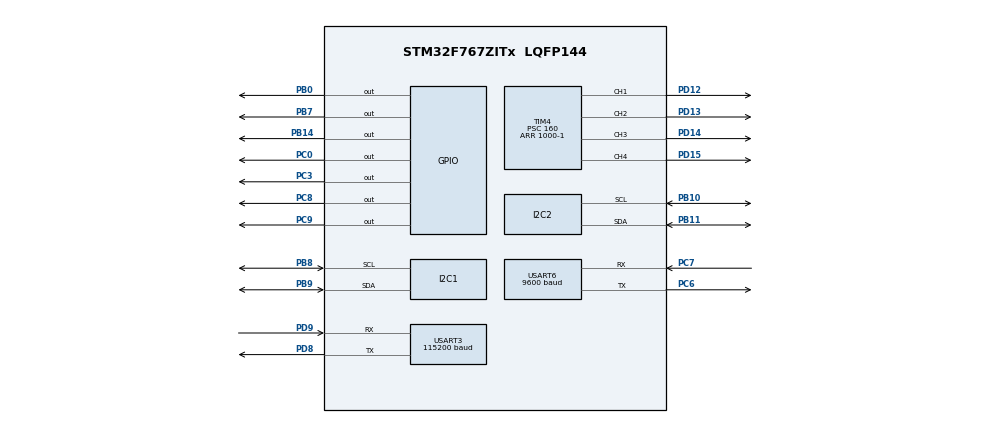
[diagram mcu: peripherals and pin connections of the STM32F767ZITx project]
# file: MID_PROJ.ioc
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FREERTOS.Tasks01=defaultTask,0,128,StartDefaultTask,Default,NULL,Dynamic,NULL,NULL
Mcu.Family=STM32F7
Mcu.Name=STM32F767ZITx
Mcu.Package=LQFP144
NVIC.PriorityGroup=NVIC_PRIORITYGROUP_4
PB0.Signal=GPIO_Output
PB10.GPIO_Pu=GPIO_PULLUP
PB10.Mode=I2C
PB10.Signal=I2C2_SCL
PB11.GPIO_Pu=GPIO_PULLUP
PB11.Mode=I2C
PB11.Signal=I2C2_SDA
PB14.Signal=GPIO_Output
PB7.Signal=GPIO_Output
PB8.GPIO_Pu=GPIO_PULLUP
PB8.Mode=I2C
PB8.Signal=I2C1_SCL
PB9.GPIO_Pu=GPIO_PULLUP
PB9.Mode=I2C
PB9.Signal=I2C1_SDA
PC0.Signal=GPIO_Output
PC3.Signal=GPIO_Output
PC6.Mode=Asynchronous
PC6.Signal=USART6_TX
PC7.Mode=Asynchronous
PC7.Signal=USART6_RX
PC8.Signal=GPIO_Output
PC9.Signal=GPIO_Output
PD12.Signal=S_TIM4_CH1
PD13.Signal=S_TIM4_CH2
PD14.Signal=S_TIM4_CH3
PD15.Signal=S_TIM4_CH4
PD8.Mode=Asynchronous
PD8.Signal=USART3_TX
PD9.Mode=Asynchronous
PD9.Signal=USART3_RX
ProjectManager.HeapSize=0x200
ProjectManager.StackSize=0x400
ProjectManager.TargetToolchain=STM32CubeIDE
RCC.HSE_VALUE=25000000
RCC.HSI_VALUE=16000000
RCC.LSE_VALUE=32768
RCC.USBFreq_Value=96000000
RCC.VCOOutputFreq_Value=192000000
SH.S_TIM4_CH1.0=TIM4_CH1,PWM Generation1 CH1
SH.S_TIM4_CH2.0=TIM4_CH2,PWM Generation2 CH2
SH.S_TIM4_CH3.0=TIM4_CH3,PWM Generation3 CH3
SH.S_TIM4_CH4.0=TIM4_CH4,PWM Generation4 CH4
TIM4.Channel-PWM\ Generation1\ CH1=TIM_CHANNEL_1
TIM4.Channel-PWM\ Generation2\ CH2=TIM_CHANNEL_2
TIM4.Channel-PWM\ Generation3\ CH3=TIM_CHANNEL_3
TIM4.Channel-PWM\ Generation4\ CH4=TIM_CHANNEL_4
TIM4.Period=1000-1
TIM4.Prescaler=160
USART3.BaudRate=115200
USART3.VirtualMode-Asynchronous=VM_ASYNC
USART6.BaudRate=9600
USART6.VirtualMode-Asynchronous=VM_ASYNC
VP_FREERTOS_VS_CMSIS_V1.Mode=CMSIS_V1
board=custom

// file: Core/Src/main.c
/* USER CODE BEGIN Header */
/**
  ******************************************************************************
  * @file           : main.c
  * @brief          : Main program body
  ******************************************************************************
  * @attention
  *
  * <h2><center>&copy; Copyright (c) 2021 STMicroelectronics.
  * All rights reserved.</center></h2>
  *
  * This software component is licensed by ST under BSD 3-Clause license,
  * the "License"; You may not use this file except in compliance with the
  * License. You may obtain a copy of the License at:
  *                        opensource.org/licenses/BSD-3-Clause
  *
  ******************************************************************************
  */
/* USER CODE END Header */
#include "main.h"
#include "cmsis_os.h"
#include "i2c.h"
#include "tim.h"
#include "usart.h"
#include "gpio.h"

/* USER CODE BEGIN Includes */
#include "math.h"
#include "queue.h"
#include "task.h"
static QueueHandle_t RollCmdQueue = NULL ;
#include "i2c-lcd.h"

/* USER CODE END Includes */

/* USER CODE BEGIN PV */
__STATIC_INLINE void  Configure_TIMPWMOutput(void);
void Roll_Task (void);
void Uart_Rx_Task(void);
void lcd_init (void);
void lcd_send_cmd (char cmd);
void lcd_send_data (char data);
void lcd_send_string (char *str);
void lcd_put_cur (int row, int col);
void lcd_clear (void);

uint8_t readReg(uint8_t addr);
uint8_t rec_BLE;
void writeReg(uint8_t addr, uint8_t val);
void Usart3_Send(char *string);

void ADXL_Task(void);

//void MX_FREERTOS_Init(void);
/* USER CODE END PV */

void SystemClock_Config(void);
void MX_FREERTOS_Init(void);
/* USER CODE BEGIN PFP */
#define SLAVE_ADDRESS_LCD 0x4E
#define SLAVE_ADDRESS_ADXL 0xA7
/* USER CODE END PFP */

int main(void)
{

  /* MCU Configuration--------------------------------------------------------*/

  /* Reset of all peripherals, Initializes the Flash interface and the Systick. */
  HAL_Init();

  /* Configure the system clock */
  SystemClock_Config();

  /* Initialize all configured peripherals */
  MX_GPIO_Init();
  MX_TIM4_Init();
  MX_USART3_UART_Init();
  MX_I2C1_Init();
  MX_I2C2_Init();
  MX_USART6_UART_Init();
  /* USER CODE BEGIN 2 */
  Configure_TIMPWMOutput();

  RollCmdQueue = xQueueCreate(2,sizeof(uint8_t));
  lcd_init();
  lcd_send_string ("HELLO WORLD");

  while(RollCmdQueue==NULL);
  if(xTaskCreate(Roll_Task,"rolltask",128,NULL,tskIDLE_PRIORITY+2, NULL)!= pdPASS){while(1);}
  if(xTaskCreate(Uart_Rx_Task,"uarttask",128,NULL,tskIDLE_PRIORITY+1, NULL)!= pdPASS){while(1);}
  if(xTaskCreate(ADXL_Task,"adxltask",128,NULL,tskIDLE_PRIORITY+1, NULL)!= pdPASS){while(1);}
  //vTaskStartScheduler();

  /* USER CODE END 2 */

  /* Call init function for freertos objects (in freertos.c) */
  MX_FREERTOS_Init();
  /* Start scheduler */
  //osKernelStart();

  /* We should never get here as control is now taken by the scheduler */
  /* Infinite loop */
  while (1)
  {
	  while(!LL_USART_IsActiveFlag_RXNE(USART6));
	  LL_GPIO_TogglePin(GPIOB,LL_GPIO_PIN_14);
	  rec_BLE=LL_USART_ReceiveData8(USART6);
	}
}

void SystemClock_Config(void)
{
  LL_FLASH_SetLatency(LL_FLASH_LATENCY_0);
  while(LL_FLASH_GetLatency()!= LL_FLASH_LATENCY_0)
  {
  }
  LL_PWR_SetRegulVoltageScaling(LL_PWR_REGU_VOLTAGE_SCALE3);
  LL_PWR_DisableOverDriveMode();
  LL_RCC_HSI_SetCalibTrimming(16);
  LL_RCC_HSI_Enable();

   /* Wait till HSI is ready */
  while(LL_RCC_HSI_IsReady() != 1)
  {

  }
  LL_RCC_SetAHBPrescaler(LL_RCC_SYSCLK_DIV_1);
  LL_RCC_SetAPB1Prescaler(LL_RCC_APB1_DIV_1);
  LL_RCC_SetAPB2Prescaler(LL_RCC_APB2_DIV_1);
  LL_RCC_SetSysClkSource(LL_RCC_SYS_CLKSOURCE_HSI);

   /* Wait till System clock is ready */
  while(LL_RCC_GetSysClkSource() != LL_RCC_SYS_CLKSOURCE_STATUS_HSI)
  {

  }
  LL_SetSystemCoreClock(16000000);

   /* Update the time base */
  if (HAL_InitTick (TICK_INT_PRIORITY) != HAL_OK)
  {
    Error_Handler();
  }
  LL_RCC_SetUSARTClockSource(LL_RCC_USART3_CLKSOURCE_PCLK1);
  LL_RCC_SetUSARTClockSource(LL_RCC_USART6_CLKSOURCE_PCLK2);
  LL_RCC_SetI2CClockSource(LL_RCC_I2C1_CLKSOURCE_PCLK1);
  LL_RCC_SetI2CClockSource(LL_RCC_I2C2_CLKSOURCE_PCLK1);
}

/* USER CODE BEGIN 4 */
__STATIC_INLINE void  Configure_TIMPWMOutput(void)
{
  /*************************/
  /* GPIO AF configuration */
  /*************************/
  /* Enable the peripheral clock of GPIOs */
  LL_AHB1_GRP1_EnableClock(LL_AHB1_GRP1_PERIPH_GPIOD);

  LL_GPIO_InitTypeDef GPIO_InitStruct = {0};
  GPIO_InitStruct.Pin = LL_GPIO_PIN_12;
  GPIO_InitStruct.Mode = LL_GPIO_MODE_ALTERNATE;
  GPIO_InitStruct.Speed = LL_GPIO_SPEED_FREQ_LOW;
  GPIO_InitStruct.OutputType = LL_GPIO_OUTPUT_PUSHPULL;
  GPIO_InitStruct.Pull = LL_GPIO_PULL_NO;
  GPIO_InitStruct.Alternate = LL_GPIO_AF_2;
  LL_GPIO_Init(GPIOD, &GPIO_InitStruct);

  GPIO_InitStruct.Pin = LL_GPIO_PIN_13;
  GPIO_InitStruct.Mode = LL_GPIO_MODE_ALTERNATE;
  GPIO_InitStruct.Speed = LL_GPIO_SPEED_FREQ_LOW;
  GPIO_InitStruct.OutputType = LL_GPIO_OUTPUT_PUSHPULL;
  GPIO_InitStruct.Pull = LL_GPIO_PULL_NO;
  GPIO_InitStruct.Alternate = LL_GPIO_AF_2;
  LL_GPIO_Init(GPIOD, &GPIO_InitStruct);

  GPIO_InitStruct.Pin = LL_GPIO_PIN_14;
  GPIO_InitStruct.Mode = LL_GPIO_MODE_ALTERNATE;
  GPIO_InitStruct.Speed = LL_GPIO_SPEED_FREQ_LOW;
  GPIO_InitStruct.OutputType = LL_GPIO_OUTPUT_PUSHPULL;
  GPIO_InitStruct.Pull = LL_GPIO_PULL_NO;
  GPIO_InitStruct.Alternate = LL_GPIO_AF_2;
  LL_GPIO_Init(GPIOD, &GPIO_InitStruct);

  GPIO_InitStruct.Pin = LL_GPIO_PIN_15;
  GPIO_InitStruct.Mode = LL_GPIO_MODE_ALTERNATE;
  GPIO_InitStruct.Speed = LL_GPIO_SPEED_FREQ_LOW;
  GPIO_InitStruct.OutputType = LL_GPIO_OUTPUT_PUSHPULL;
  GPIO_InitStruct.Pull = LL_GPIO_PULL_NO;
  GPIO_InitStruct.Alternate = LL_GPIO_AF_2;
  LL_GPIO_Init(GPIOD, &GPIO_InitStruct);

  /***********************************************/
  /* Configure the NVIC to handle TIM4 interrupt */
  /***********************************************/
  NVIC_SetPriority(TIM4_IRQn, 0);
  NVIC_DisableIRQ(TIM4_IRQn);

  /******************************/
  /* Peripheral clocks enabling */
  /******************************/
  /* Enable the timer peripheral clock */
  LL_APB1_GRP1_EnableClock(LL_APB1_GRP1_PERIPH_TIM4);

  /***************************/
  /* Time base configuration */
  /***************************/
  /* Set counter mode */
  /* Reset value is LL_TIM_COUNTERMODE_UP */
  LL_TIM_SetCounterMode(TIM4, LL_TIM_COUNTERMODE_UP);

  /* Set the pre-scaler value to have TIM1 counter clock equal to 10 kHz */
  LL_TIM_SetPrescaler(TIM4, __LL_TIM_CALC_PSC(SystemCoreClock, 10000));

  /* Enable TIM1_ARR register preload. Writing to or reading from the         */
  /* auto-reload register accesses the preload register. The content of the   */
  /* preload register are transferred into the shadow register at each update */
  /* event (UEV).                                                             */
  LL_TIM_EnableARRPreload(TIM4);

  /* Set the auto-reload value to have a counter frequency of 100 Hz */
  /* TIM1CLK = SystemCoreClock / (APB prescaler & multiplier)               */
  uint32_t TimOutClock = SystemCoreClock/2;
  LL_TIM_SetAutoReload(TIM4, __LL_TIM_CALC_ARR(TimOutClock, LL_TIM_GetPrescaler(TIM4), 100));

  /*********************************/
  /* Output waveform configuration */
  /*********************************/
  /* Set output mode */
  /* Reset value is LL_TIM_OCMODE_FROZEN */
  LL_TIM_OC_SetMode(TIM4, LL_TIM_CHANNEL_CH1, LL_TIM_OCMODE_PWM1);
  LL_TIM_OC_SetMode(TIM4, LL_TIM_CHANNEL_CH2, LL_TIM_OCMODE_PWM1);
  LL_TIM_OC_SetMode(TIM4, LL_TIM_CHANNEL_CH3, LL_TIM_OCMODE_PWM1);
  LL_TIM_OC_SetMode(TIM4, LL_TIM_CHANNEL_CH4, LL_TIM_OCMODE_PWM1);

  /* Set output channel polarity */
  /* Reset value is LL_TIM_OCPOLARITY_HIGH */
  LL_TIM_OC_SetPolarity(TIM4, LL_TIM_CHANNEL_CH1, LL_TIM_OCPOLARITY_HIGH);
  LL_TIM_OC_SetPolarity(TIM4, LL_TIM_CHANNEL_CH2, LL_TIM_OCPOLARITY_HIGH);
  LL_TIM_OC_SetPolarity(TIM4, LL_TIM_CHANNEL_CH3, LL_TIM_OCPOLARITY_HIGH);
  LL_TIM_OC_SetPolarity(TIM4, LL_TIM_CHANNEL_CH4, LL_TIM_OCPOLARITY_HIGH);

  /* Set compare value to half of the counter period (50% duty cycle ) */
  LL_TIM_OC_SetCompareCH1(TIM4, 0);
  LL_TIM_OC_SetCompareCH2(TIM4, 0);
  LL_TIM_OC_SetCompareCH3(TIM4, 0);
  LL_TIM_OC_SetCompareCH4(TIM4, 0);

  /* Enable TIM1_CCR1 register preload. Read/Write operations access the      */
  /* preload register. TIM4_CCR1~4 preload value is loaded in the active        */
  /* at each update event.                                                    */
  LL_TIM_OC_EnablePreload(TIM4, LL_TIM_CHANNEL_CH1);
  LL_TIM_OC_EnablePreload(TIM4, LL_TIM_CHANNEL_CH2);
  LL_TIM_OC_EnablePreload(TIM4, LL_TIM_CHANNEL_CH3);
  LL_TIM_OC_EnablePreload(TIM4, LL_TIM_CHANNEL_CH4);

  /**************************/
  /* TIM4 interrupts set-up */
  /**************************/
  /* Enable the capture/compare interrupt for channel 1~4*/
  LL_TIM_EnableIT_CC1(TIM4);
  LL_TIM_EnableIT_CC2(TIM4);
  LL_TIM_EnableIT_CC3(TIM4);
  LL_TIM_EnableIT_CC4(TIM4);

  /**********************************/
  /* Start output signal generation */
  /**********************************/
  /* Enable output channel 1~4 */
  LL_TIM_CC_EnableChannel(TIM4, LL_TIM_CHANNEL_CH1);
  LL_TIM_CC_EnableChannel(TIM4, LL_TIM_CHANNEL_CH2);
  LL_TIM_CC_EnableChannel(TIM4, LL_TIM_CHANNEL_CH3);
  LL_TIM_CC_EnableChannel(TIM4, LL_TIM_CHANNEL_CH4);

  /* Enable counter */
  LL_TIM_EnableCounter(TIM4);

  /* Force update generation */
  LL_TIM_GenerateEvent_UPDATE(TIM4);
}

void Roll_Task (void){
	uint8_t nextCmd =0;
	uint8_t Cmd =0;
	uint8_t speed = 20;
	while(1){

		if(xQueueReceive(RollCmdQueue,&nextCmd, portMAX_DELAY)== pdTRUE){

		if(nextCmd=='x')
			speed -= 10;
		else if(nextCmd=='c')
			speed += 10;
		else
			Cmd = nextCmd;
		}
		if(Cmd=='w'){
			LL_TIM_OC_SetCompareCH1(TIM4, ( (LL_TIM_GetAutoReload(TIM4) + 1 )*speed / 100));//PD12
			LL_GPIO_ResetOutputPin(GPIOC,LL_GPIO_PIN_0);//3
			LL_TIM_OC_SetCompareCH2(TIM4, ( (LL_TIM_GetAutoReload(TIM4) + 1 )*speed / 100));//PD13
			LL_GPIO_ResetOutputPin(GPIOC,LL_GPIO_PIN_8);
			LL_TIM_OC_SetCompareCH3(TIM4, ( (LL_TIM_GetAutoReload(TIM4) + 1 )*speed / 100));//PD14
			LL_GPIO_ResetOutputPin(GPIOC,LL_GPIO_PIN_9);
			LL_TIM_OC_SetCompareCH4(TIM4, ( (LL_TIM_GetAutoReload(TIM4) + 1 )*speed / 100));//PD15
			LL_GPIO_ResetOutputPin(GPIOC,LL_GPIO_PIN_3);//4
			}
			//LL_GPIO_TogglePin(GPIOB,LL_GPIO_PIN_14);
		else if(Cmd=='d')
		{
			LL_GPIO_TogglePin(GPIOB,LL_GPIO_PIN_0);
			LL_TIM_OC_SetCompareCH1(TIM4, ( (LL_TIM_GetAutoReload(TIM4) + 1 )*speed / 100));//PD12
			LL_GPIO_ResetOutputPin(GPIOC,LL_GPIO_PIN_0);//3
			LL_TIM_OC_SetCompareCH2(TIM4, ( (LL_TIM_GetAutoReload(TIM4) + 1 )*(100-speed) / 100));//PD13
			LL_GPIO_SetOutputPin(GPIOC,LL_GPIO_PIN_8);//re 1
			LL_TIM_OC_SetCompareCH3(TIM4, ( (LL_TIM_GetAutoReload(TIM4) + 1 )*speed / 100));//PD14
			LL_GPIO_ResetOutputPin(GPIOC,LL_GPIO_PIN_9);//re 2
			LL_TIM_OC_SetCompareCH4(TIM4, ( (LL_TIM_GetAutoReload(TIM4) + 1 )*(100-speed) / 100));//PD15
			LL_GPIO_SetOutputPin(GPIOC,LL_GPIO_PIN_3);//4
					}

		else if(Cmd=='s')
		{
			LL_GPIO_TogglePin(GPIOB,LL_GPIO_PIN_7);
			LL_TIM_OC_SetCompareCH1(TIM4, ( (LL_TIM_GetAutoReload(TIM4) + 1 )*(100-speed) / 100));//PD12
			LL_GPIO_SetOutputPin(GPIOC,LL_GPIO_PIN_0);//3
			LL_TIM_OC_SetCompareCH2(TIM4, ( (LL_TIM_GetAutoReload(TIM4) + 1 )*(100-speed) / 100));//PD13
			LL_GPIO_SetOutputPin(GPIOC,LL_GPIO_PIN_8);//re 1
			LL_TIM_OC_SetCompareCH3(TIM4, ( (LL_TIM_GetAutoReload(TIM4) + 1 )*(100-speed) / 100));//PD14
			LL_GPIO_SetOutputPin(GPIOC,LL_GPIO_PIN_9);//re 2
			LL_TIM_OC_SetCompareCH4(TIM4, ( (LL_TIM_GetAutoReload(TIM4) + 1 )*(100-speed) / 100));//PD15
			LL_GPIO_SetOutputPin(GPIOC,LL_GPIO_PIN_3);//4
					}
		else if(Cmd=='a')
			{
			LL_GPIO_TogglePin(GPIOB,LL_GPIO_PIN_7);
			LL_TIM_OC_SetCompareCH1(TIM4, ( (LL_TIM_GetAutoReload(TIM4) + 1 )*(100-speed) / 100));//PD12
			LL_GPIO_SetOutputPin(GPIOC,LL_GPIO_PIN_0);//3
			LL_TIM_OC_SetCompareCH2(TIM4, ( (LL_TIM_GetAutoReload(TIM4) + 1 )*speed / 100));//PD13
			LL_GPIO_ResetOutputPin(GPIOC,LL_GPIO_PIN_8);//re 1
			LL_TIM_OC_SetCompareCH3(TIM4, ( (LL_TIM_GetAutoReload(TIM4) + 1 )*(100-speed) / 100));//PD14
			LL_GPIO_SetOutputPin(GPIOC,LL_GPIO_PIN_9);//re 2
			LL_TIM_OC_SetCompareCH4(TIM4, ( (LL_TIM_GetAutoReload(TIM4) + 1 )*speed / 100));//PD15
			LL_GPIO_ResetOutputPin(GPIOC,LL_GPIO_PIN_3);//4
			}
		else if(Cmd==' ')
		{
			LL_TIM_OC_SetCompareCH1(TIM4, ( (LL_TIM_GetAutoReload(TIM4) + 1 )*0 / 100));//PD12
			LL_GPIO_ResetOutputPin(GPIOC,LL_GPIO_PIN_0);//3
			LL_TIM_OC_SetCompareCH2(TIM4, ( (LL_TIM_GetAutoReload(TIM4) + 1 )*0 / 100));//PD13
			LL_GPIO_ResetOutputPin(GPIOC,LL_GPIO_PIN_8);
			LL_TIM_OC_SetCompareCH3(TIM4, ( (LL_TIM_GetAutoReload(TIM4) + 1 )*0 / 100));//PD14
			LL_GPIO_ResetOutputPin(GPIOC,LL_GPIO_PIN_9);
			LL_TIM_OC_SetCompareCH4(TIM4, ( (LL_TIM_GetAutoReload(TIM4) + 1 )*0 / 100));//PD15
			LL_GPIO_ResetOutputPin(GPIOC,LL_GPIO_PIN_3);//4
			}

	}
}

void Uart_Rx_Task(void){
	uint8_t rec;
	//LL_GPIO_TogglePin(GPIOB,LL_GPIO_PIN_7);
	while(1){
		while(!LL_USART_IsActiveFlag_RXNE(USART3));
		rec =LL_USART_ReceiveData8(USART3);
		if(rec=='w'||rec=='a'||rec=='s'||rec=='d'||rec==' '||rec=='x'||rec=='c'){

			xQueueSend(RollCmdQueue,&rec,portMAX_DELAY);
			vTaskDelay(100/portTICK_PERIOD_MS);

		}
		vTaskDelay(1/portTICK_PERIOD_MS);
	}
}
void ADXL_Task(void){
	uint8_t data[6] = {0} ;
		short dataXYZ[3] = {0};
		float data_acc[3] = {0};
		uint8_t datafmt_val;
		float gravity_range = 8.0f;
	  float resol = 1024.0f;	//10-bit
	  float factor = gravity_range / resol;
	  Usart3_Send("----------------------\n\r");
	  uint8_t* name[3];
	  uint8_t ax[] = "Ax";
	  uint8_t ay[] = "Ay";
	  uint8_t az[] = "Az";

	  name[0]=ax;
	  name[1]=ay;
	  name[2]=az;

	  writeReg(0x2D,0x0A);
	  /**
	   *  Clearing bit3 to config sensor as Normal resolution mode.
	   *  Set bit[1:0] = 0x01 to get ±4g range.
	   */
	  datafmt_val = readReg(0x31);
	  datafmt_val = (datafmt_val & ~(1 << 3)) | 0x01 ;
	  writeReg(0x31,datafmt_val);

	  /* Infinite loop */
	  /* USER CODE BEGIN WHILE */
	  while (1)
	  {

		  data[0] = readReg(0x32);
		  data[1] = readReg(0x33);
		  data[2] = readReg(0x34);
		  data[3] = readReg(0x35);
		  data[4] = readReg(0x36);
		  data[5] = readReg(0x37);

	    for(uint8_t k = 0 ; k <3 ; k ++)
	      dataXYZ[k] = ((short)data[2*k+1] << 8) | (short)data[2*k] ;

	      data_acc[0] = dataXYZ[0]*factor;
	      data_acc[1] = dataXYZ[1]*factor;
	      data_acc[2] = dataXYZ[2]*factor;

	      char uartBuf[20]="";
	        for(int i=0;i<3;i++){
	      	  if(data_acc[i]>0){
	      		  int a=(float)data_acc[i];
	      		  int b = ((float)data_acc[i]-a)*1000;
	      		  sprintf ( uartBuf, " =   %d.%d\n\r",a,b);
	      		  Usart3_Send(name[i]);
	      		  Usart3_Send(uartBuf);

	      	  }
	      	  else if(data_acc[i]<0){
	      		  int a=-((float)data_acc[i]);
	      		  int b = -((float)data_acc[i]-a)*1000;
	      		  sprintf ( uartBuf, " =  -%d.%d\n\r",a,b);
	      		  Usart3_Send(name[i]);
	      		  Usart3_Send(uartBuf);
	        }
		}
	        LL_mDelay(1000);
	  }

}
uint8_t readReg(uint8_t addr)
{
	LL_I2C_HandleTransfer(I2C1, SLAVE_ADDRESS_ADXL, LL_I2C_ADDRSLAVE_7BIT, sizeof(addr), LL_I2C_MODE_AUTOEND, LL_I2C_GENERATE_START_WRITE);
	while(!LL_I2C_IsActiveFlag_TXE(I2C1));
	LL_I2C_TransmitData8(I2C1, addr);
	LL_mDelay(50);
	LL_I2C_HandleTransfer(I2C1, 0xA6, LL_I2C_ADDRSLAVE_7BIT, sizeof(addr), LL_I2C_MODE_AUTOEND, LL_I2C_GENERATE_START_READ);
	while(!LL_I2C_IsActiveFlag_RXNE(I2C1));
	return LL_I2C_ReceiveData8(I2C1);
}
void writeReg(uint8_t addr, uint8_t val)
{
	LL_I2C_HandleTransfer(I2C1, SLAVE_ADDRESS_ADXL, LL_I2C_ADDRSLAVE_7BIT, sizeof(addr)*2, LL_I2C_MODE_AUTOEND, LL_I2C_GENERATE_START_WRITE);
	LL_mDelay(50);
	while(!LL_I2C_IsActiveFlag_TXIS(I2C1));
	LL_I2C_TransmitData8(I2C1, addr);
	LL_mDelay(50);
	while(!LL_I2C_IsActiveFlag_TXIS(I2C1));
	LL_I2C_TransmitData8(I2C1, val);

}

void Usart3_Send(char *string){
    while(*string){
    	while(!LL_USART_IsActiveFlag_TXE(USART3));
        /* ?��?��?�息?�� USART1 */
        //USART_SendData(USART1, (unsigned short int) *string++);
        LL_USART_TransmitData8(USART3, (uint8_t) *string++);

        /* 等�?��?�息?��?��?�畢 */
        //while (USART_GetFlagStatus(USART1, USART_FLAG_TC) == RESET);
    }
}
/* USER CODE END 4 */

void Error_Handler(void)
{
  __disable_irq();
  while (1)
  {
  }
}

/************************ (C) COPYRIGHT STMicroelectronics *****END OF FILE****/
